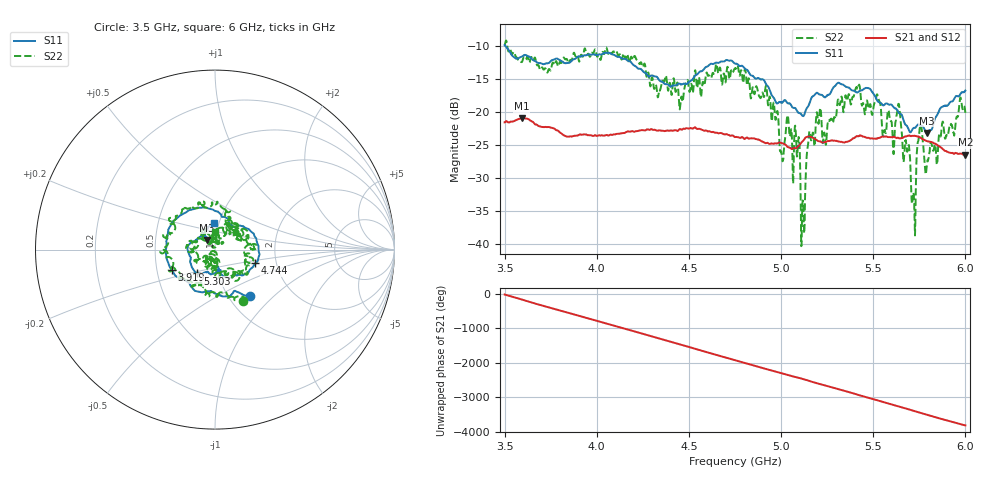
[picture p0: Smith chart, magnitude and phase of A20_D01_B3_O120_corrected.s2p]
! Created with skrf 1.9.0 (http://scikit-rf.org).
# Hz S RI R 50.0
!freq ReS11 ImS11 ReS21 ImS21 ReS12 ImS12 ReS22 ImS22
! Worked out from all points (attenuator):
!   1601 points, 3.5 GHz to 6 GHz, reference 50 ohm
!   highest |S21| = -20.88 dB at 3.592 GHz (marker M1); lowest = -26.4 dB at 6 GHz (marker M2)
!   lowest |S11| = -23.1 dB at 5.791 GHz (marker M3), VSWR 1.15, Z = 45.6 + j4.98 ohm
!   |S11| at or under -10 dB: 3.505 GHz to end of sweep
!   |S22| runs from -40.3 to -9.1 dB; largest |S21 - S12| = 0.0013
!   S11 on the Smith chart (normalised r, x): 3.5 GHz: 1.26, -0.72; 3.919 GHz: 0.60, -0.15; 4.744 GHz: 1.55, -0.25; 5.303 GHz: 0.80, -0.22; 6 GHz: 0.95, +0.28
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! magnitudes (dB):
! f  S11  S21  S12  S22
! 3.5 GHz  -9.8  -21.5  -21.5  -9.8
! 3.592 GHz  -11.6  -20.9  -20.9  -12.4
! 3.917 GHz  -11.5  -23.4  -23.4  -11.3
! 3.919 GHz  -11.5  -23.4  -23.4  -11.4
! 4.334 GHz  -15.0  -22.8  -22.7  -17.5
! 4.744 GHz  -12.5  -23.6  -23.6  -13.6
! 4.75 GHz  -12.6  -23.8  -23.7  -13.3
! 4.927 GHz  -16.0  -24.6  -24.6  -18.1
! 5.003 GHz  -18.5  -24.7  -24.7  -26.4
! 5.033 GHz  -18.5  -25.2  -25.1  -20.7
! 5.086 GHz  -19.8  -25.3  -25.3  -26.7
! 5.119 GHz  -20.6  -24.3  -24.3  -33.4
! 5.147 GHz  -19.1  -23.7  -23.7  -24.8
! 5.167 GHz  -17.7  -23.8  -23.8  -23.9
! 5.303 GHz  -15.7  -24.4  -24.3  -19.4
! 5.416 GHz  -17.0  -23.6  -23.7  -16.4
! 5.584 GHz  -18.8  -23.8  -23.7  -19.8
! 5.641 GHz  -20.1  -23.9  -23.9  -19.0
! 5.717 GHz  -22.4  -23.6  -23.5  -32.1
! 5.752 GHz  -21.9  -23.8  -23.7  -22.5
! 5.791 GHz  -23.1  -24.3  -24.3  -28.0
! 6 GHz  -16.7  -26.4  -26.4  -20.1
